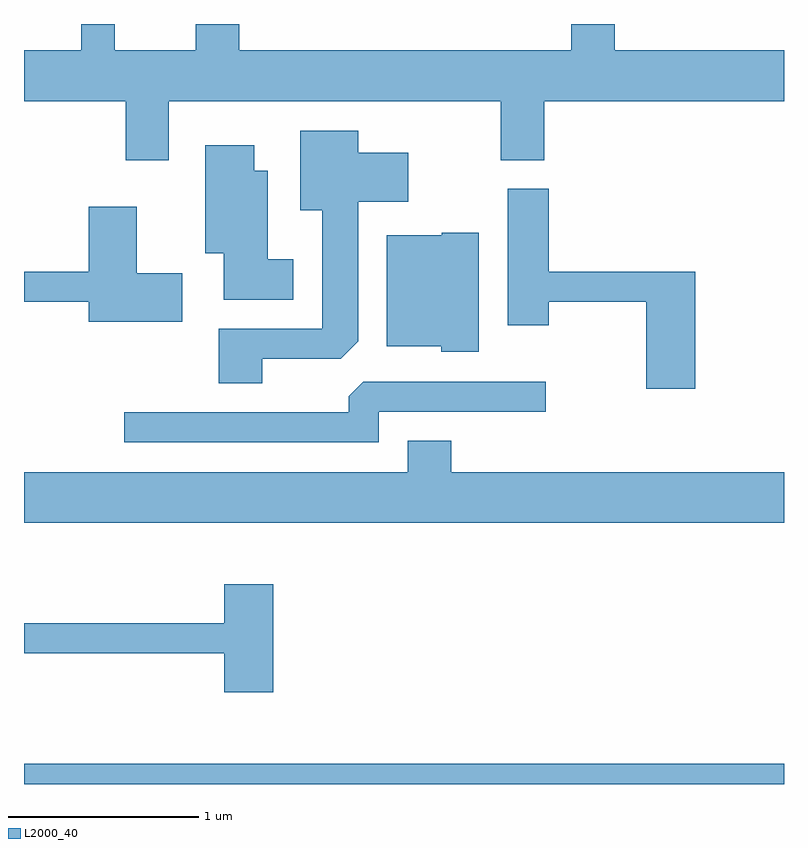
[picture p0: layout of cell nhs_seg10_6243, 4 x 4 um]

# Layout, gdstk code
import gdstk
lib = gdstk.Library(unit=1e-6, precision=1e-09)
def R(c, l, rs):  # rectangles x0, y0, x1, y1
    for r in rs: c.add(gdstk.rectangle(r[:2], r[2:], *l))
def P(c, l, *ps):  # polygons
    for p in ps: c.add(gdstk.Polygon(p, *l))
L2000_40 = (2000, 40)

nhs_seg10_6243 = lib.new_cell('nhs_seg10_6243')
R(nhs_seg10_6243, L2000_40, [(369.611,2132.522,373.611,2132.629)])
P(nhs_seg10_6243, L2000_40, [(370.374,2136.116),(372.121,2136.116),(372.121,2135.806),(372.349,2135.806),(372.349,2136.116),(373.611,2136.116),(373.611,2136.384),(372.719,2136.384),(372.719,2136.522),(372.491,2136.522),(372.491,2136.384),(370.744,2136.384),(370.744,2136.522),(370.516,2136.522),(370.516,2136.384),(370.089,2136.384),(370.089,2136.522),(369.911,2136.522),(369.911,2136.384),(369.611,2136.384),(369.611,2136.116),(370.146,2136.116),(370.146,2135.806),(370.374,2135.806)],
  [(370.864,2134.761),(371.279,2134.761),(371.369,2134.852),(371.369,2135.586),(371.634,2135.586),(371.634,2135.844),(371.369,2135.844),(371.369,2135.959),(371.066,2135.959),(371.066,2135.541),(371.181,2135.541),(371.181,2134.919),(370.636,2134.919),(370.636,2134.631),(370.864,2134.631)],
  [(371.029,2135.284),(370.894,2135.284),(370.894,2135.749),(370.824,2135.749),(370.824,2135.884),(370.566,2135.884),(370.566,2135.316),(370.661,2135.316),(370.661,2135.071),(371.029,2135.071)],
  [(373.144,2135.219),(372.374,2135.219),(372.374,2135.654),(372.156,2135.654),(372.156,2134.936),(372.374,2134.936),(372.374,2135.061),(372.886,2135.061),(372.886,2134.601),(373.144,2134.601)],
  [(370.444,2135.209),(370.204,2135.209),(370.204,2135.559),(369.951,2135.559),(369.951,2135.219),(369.611,2135.219),(369.611,2135.061),(369.951,2135.061),(369.951,2134.956),(370.444,2134.956)],
  [(372.004,2135.424),(371.81,2135.424),(371.81,2135.409),(371.521,2135.409),(371.521,2134.826),(371.806,2134.826),(371.806,2134.796),(372.004,2134.796)],
  [(371.479,2134.481),(372.358,2134.481),(372.358,2134.639),(371.397,2134.639),(371.321,2134.564),(371.321,2134.479),(370.138,2134.479),(370.138,2134.321),(371.479,2134.321)],
  [(373.611,2134.164),(371.859,2134.164),(371.859,2134.329),(371.631,2134.329),(371.631,2134.164),(369.611,2134.164),(369.611,2133.896),(373.611,2133.896)],
  [(370.924,2133.574),(370.666,2133.574),(370.666,2133.369),(369.611,2133.369),(369.611,2133.211),(370.666,2133.211),(370.666,2133.006),(370.924,2133.006)])

lib.write_gds('nhs_seg10_6243.gds')
